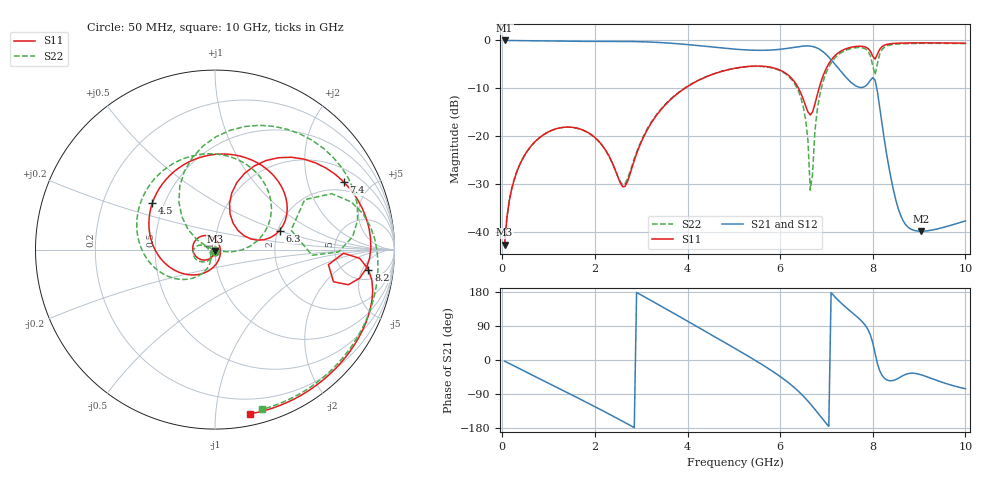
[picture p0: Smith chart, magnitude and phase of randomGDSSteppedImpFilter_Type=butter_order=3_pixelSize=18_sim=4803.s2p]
! freq	dB(S11)	phase(S11)	dB(S12)	phase(S12)
!  dB(S21)	phase(S21)	dB(S22)	phase(S22)
!S-par simulation data
#  GHz  S  DB  R 50
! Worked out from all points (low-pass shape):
!   200 points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, 50 MHz to 10 GHz, reference 50 ohm
!   highest |S21| = 0.00 dB at 50 MHz (marker M1); lowest = -39.9 dB at 9.05 GHz (marker M2)
!   |S21| within 3 dB of the highest: start of sweep to 7.001 GHz
!   lowest |S11| = -42.7 dB at 50 MHz (marker M3), VSWR 1.01, Z = 50 - j0.736 ohm
!   |S11| at or under -10 dB: start of sweep to 3.94 GHz; 6.397 GHz to 6.84 GHz (443.7 MHz wide, 6.7 % of centre)
!   |S22| runs from -43.0 to -0.6 dB; largest |S21 - S12| = 0
!   S11 on the Smith chart (normalised r, x): 50 MHz: 1.00, -0.01; 4.5 GHz: 0.43, +0.28; 6.3 GHz: 2.04, +0.51; 7.4 GHz: 1.55, +3.40; 8.2 GHz: 8, -7; 10 GHz: 0.08, -1.23
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0.05  -42.66 -89.5  -0.00 -3.1  -0.00 -3.1  -42.97 -92.8
0.2  -31.16 -104.0  -0.02 -12.4  -0.02 -12.4  -31.12 -101.2
0.55  -22.96 -128.0  -0.07 -33.8  -0.07 -33.8  -22.97 -120.9
1.75  -18.75 146.6  -0.18 -107.5  -0.18 -107.5  -18.78 176.7
2.65  -30.48 -3.6  -0.20 -165.1  -0.20 -165.1  -29.92 -146.2
3.4  -14.77 -129.4  -0.43 144.1  -0.43 144.1  -14.63 -124.7
4.5  -7.23 143.3  -1.34 67.5  -1.34 67.5  -7.19 170.2
5.05  -5.77 103.2  -1.84 28.8  -1.84 28.8  -5.77 133.6
5.75  -5.53 53.8  -2.03 -22.9  -2.03 -22.9  -5.59 81.8
6.3  -8.51 16.5  -1.44 -72.1  -1.44 -72.1  -8.86 30.5
6.55  -13.66 16.7  -1.15 -101.7  -1.15 -101.7  -16.53 -0.8
6.65  -15.57 40.2  -1.18 -115.4  -1.18 -115.4  -31.26 -19.0
6.7  -14.94 55.9  -1.26 -122.6  -1.26 -122.6  -27.77 161.4
6.9  -8.11 71.9  -2.17 -153.1  -2.17 -153.1  -9.54 127.1
7.4  -1.82 27.7  -7.47 141.1  -7.47 141.1  -2.13 58.7
7.95  -2.28 -14.8  -8.31 65.6  -8.31 65.6  -3.25 -1.1
8.05  -3.91 -7.6  -8.31 17.5  -8.31 17.5  -7.18 14.3
8.2  -1.29 -7.4  -17.49 -40.5  -17.49 -40.5  -1.89 19.2
8.35  -0.74 -17.8  -26.56 -54.5  -26.56 -54.5  -1.00 4.0
8.65  -0.54 -32.6  -37.56 -41.4  -37.56 -41.4  -0.69 -16.0
9.05  -0.50 -48.1  -39.85 -39.3  -39.85 -39.3  -0.61 -36.2
10  -0.57 -77.9  -37.69 -76.0  -37.69 -76.0  -0.65 -73.7
